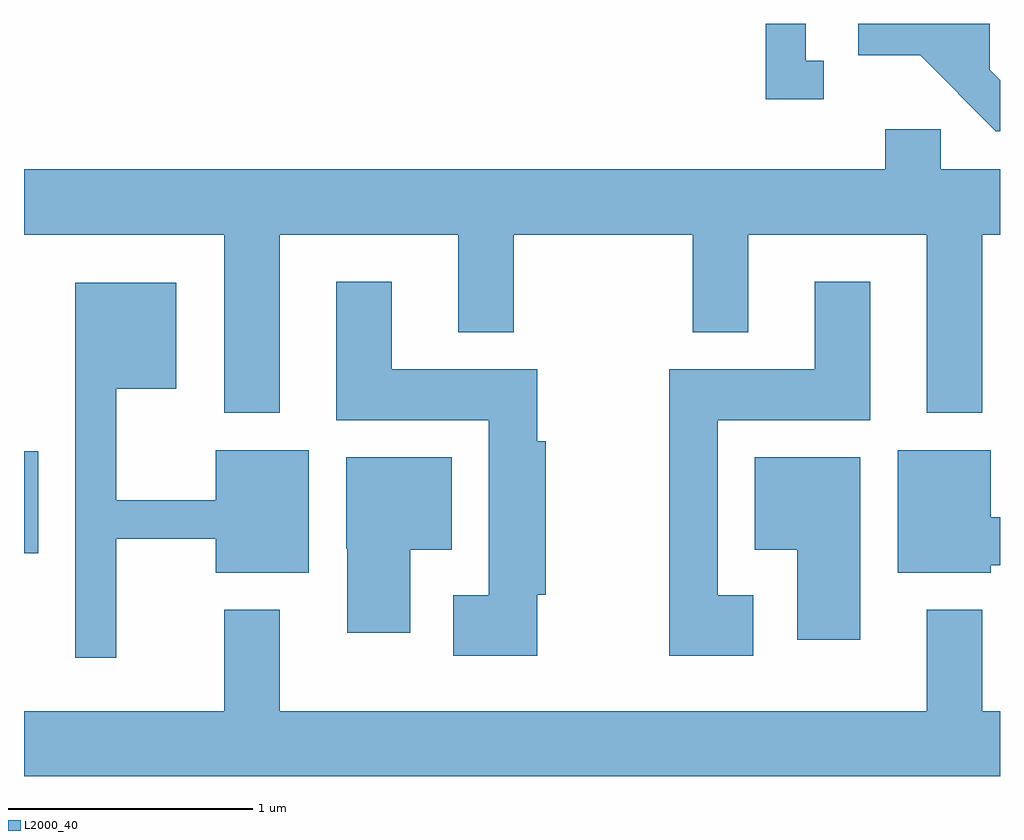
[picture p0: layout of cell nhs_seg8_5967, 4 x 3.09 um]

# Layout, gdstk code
import gdstk
lib = gdstk.Library(unit=1e-6, precision=1e-09)
def R(c, l, rs):  # rectangles x0, y0, x1, y1
    for r in rs: c.add(gdstk.rectangle(r[:2], r[2:], *l))
def P(c, l, *ps):  # polygons
    for p in ps: c.add(gdstk.Polygon(p, *l))
L2000_40 = (2000, 40)

nhs_seg8_5967 = lib.new_cell('nhs_seg8_5967')
R(nhs_seg8_5967, L2000_40, [(363.611,1886.171,363.669,1886.589)])
P(nhs_seg8_5967, L2000_40, [(367.611,1888.11),(367.569,1888.152),(367.569,1888.342),(367.031,1888.342),(367.031,1888.211),(367.284,1888.211),(367.594,1887.901),(367.611,1887.901)],
  [(366.888,1888.189),(366.814,1888.189),(366.814,1888.342),(366.651,1888.342),(366.651,1888.031),(366.888,1888.031)],
  [(364.659,1887.476),(365.391,1887.476),(365.391,1887.076),(365.619,1887.076),(365.619,1887.476),(366.351,1887.476),(366.351,1887.076),(366.579,1887.076),(366.579,1887.476),(367.311,1887.476),(367.311,1886.746),(367.539,1886.746),(367.539,1887.476),(367.611,1887.476),(367.611,1887.744),(367.369,1887.744),(367.369,1887.909),(367.141,1887.909),(367.141,1887.744),(363.611,1887.744),(363.611,1887.476),(364.431,1887.476),(364.431,1886.746),(364.659,1886.746)],
  [(365.714,1886.001),(365.749,1886.001),(365.749,1886.629),(365.714,1886.629),(365.714,1886.924),(365.119,1886.924),(365.119,1887.284),(364.891,1887.284),(364.891,1886.716),(365.516,1886.716),(365.516,1885.999),(365.371,1885.999),(365.371,1885.751),(365.714,1885.751)],
  [(366.599,1885.999),(366.454,1885.999),(366.454,1886.716),(367.079,1886.716),(367.079,1887.284),(366.851,1887.284),(366.851,1886.924),(366.256,1886.924),(366.256,1885.751),(366.599,1885.751)],
  [(363.989,1886.231),(364.396,1886.231),(364.396,1886.091),(364.779,1886.091),(364.779,1886.594),(364.396,1886.594),(364.396,1886.389),(363.989,1886.389),(363.989,1886.846),(364.234,1886.846),(364.234,1887.279),(363.821,1887.279),(363.821,1885.743),(363.989,1885.743)],
  [(367.574,1886.121),(367.611,1886.121),(367.611,1886.319),(367.574,1886.319),(367.574,1886.594),(367.191,1886.594),(367.191,1886.091),(367.574,1886.091)],
  [(367.039,1886.564),(366.606,1886.564),(366.606,1886.186),(366.781,1886.186),(366.781,1885.816),(367.039,1885.816)],
  [(365.194,1886.186),(365.364,1886.186),(365.364,1886.564),(364.931,1886.564),(364.931,1886.19),(364.936,1886.19),(364.936,1885.846),(365.194,1885.846)],
  [(367.611,1885.524),(367.539,1885.524),(367.539,1885.939),(367.311,1885.939),(367.311,1885.524),(364.659,1885.524),(364.659,1885.939),(364.431,1885.939),(364.431,1885.524),(363.611,1885.524),(363.611,1885.256),(367.611,1885.256)])

lib.write_gds('nhs_seg8_5967.gds')
